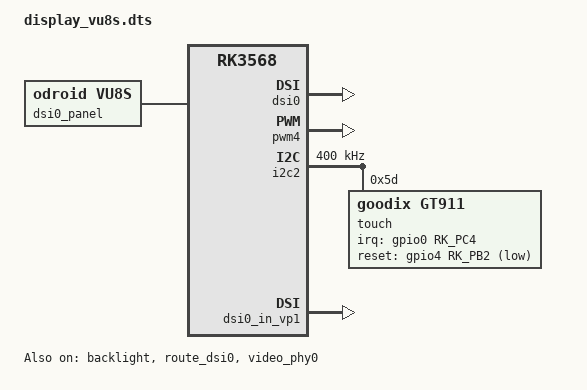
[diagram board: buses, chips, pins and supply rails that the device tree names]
/dts-v1/;
/plugin/;

#include "../../rk3568-pinctrl.dtsi"
#include <dt-bindings/gpio/gpio.h>
#include <dt-bindings/interrupt-controller/arm-gic.h>
#include <dt-bindings/interrupt-controller/irq.h>
#include <dt-bindings/pinctrl/rockchip.h>
#include <dt-bindings/display/drm_mipi_dsi.h>

/{
	fragment@0 {
		target = <&dsi0>;
		__overlay__ {
			status = "okay";
		};
	};

	fragment@1 {
		target = <&dsi0_panel>;

		__overlay__ {
			status = "okay";
			compatible = "odroid,vu8s";

			dsi,flags = <(MIPI_DSI_MODE_VIDEO | MIPI_DSI_MODE_VIDEO_BURST |
					MIPI_DSI_MODE_EOT_PACKET)>;
			dsi,format = <MIPI_DSI_FMT_RGB888>;
			dsi,lanes = <4>;
		};
	};

	fragment@2 {
		target = <&pwm4>;
		__overlay__ {
			status = "okay";
		};
	};

	fragment@3 {
		target = <&backlight>;

		__overlay__ {
			status = "okay";
		};
	};

	fragment@4 {
		target = <&i2c2>;
		__overlay__ {
			status = "okay";
			clock-frequency = <400000>;
			#address-cells = <1>;
			#size-cells = <0>;

			touch: touch@5d {
				compatible = "goodix,gt911";
				reg = <0x5d>;

				pinctrl-names = "default";
				pinctrl-0 = <&tp_gpio>;

				interrupt-parent = <&gpio0>;
				interrupts = <RK_PC4 IRQ_TYPE_LEVEL_LOW>;

				irq-gpios = <&gpio0 RK_PC4 IRQ_TYPE_LEVEL_LOW>;
				reset-gpios = <&gpio4 RK_PB2 GPIO_ACTIVE_LOW>;
			};
		};
	};

	fragment@5 {
		target = <&pinctrl>;
		__overlay__ {
			tp {
				tp_gpio: tp-gpio {
					rockchip,pins =
						<4 RK_PB2 RK_FUNC_GPIO &pcfg_pull_up>,
						<0 RK_PC4 RK_FUNC_GPIO &pcfg_pull_up>;
				};
			};
		};
	};

	fragment@6 {
		target = <&dsi0_in_vp0>;
		__overlay__ {
			status = "disabled";
		};
	};

	fragment@7 {
		target = <&dsi0_in_vp1>;
		__overlay__ {
			status = "okay";
		};
	};

	fragment@8 {
		target = <&route_dsi0>;
		__overlay__ {
			status = "okay";
			connect = <&vp1_out_dsi0>;
		};
	};

	fragment@9 {
		target = <&vop>;
		__overlay__ {
			support-multi-area;
		};
	};

	fragment@10 {
		target = <&video_phy0>;
		__overlay__ {
			status = "okay";
		};
	};

	fragment@11 {
		target = <&vp0>;
		__overlay__ {
			rockchip,plane-mask = <0x2a>;
			rockchip,primary-plane = <0x5>;
		};
	};

	fragment@12 {
		target = <&vp1>;
		__overlay__ {
			rockchip,plane-mask = <0x15>;
			rockchip,primary-plane = <0x4>;
		};
	};

	fragment@13 {
		target = <&route_hdmi>;

		__overlay__ {
			status = "disabled";
			connect = <&vp0_out_hdmi>;
		};
	};

	fragment@14 {
		target = <&hdmi>;

		__overlay__ {
			status = "disabled";
		};
	};

	fragment@15 {
		target = <&hdmi_in_vp0>;

		__overlay__ {
			status = "disabled";
		};
	};

	fragment@16 {
		target = <&hdmi_sound>;

		__overlay__ {
			status = "disabled";
		};
	};
};
